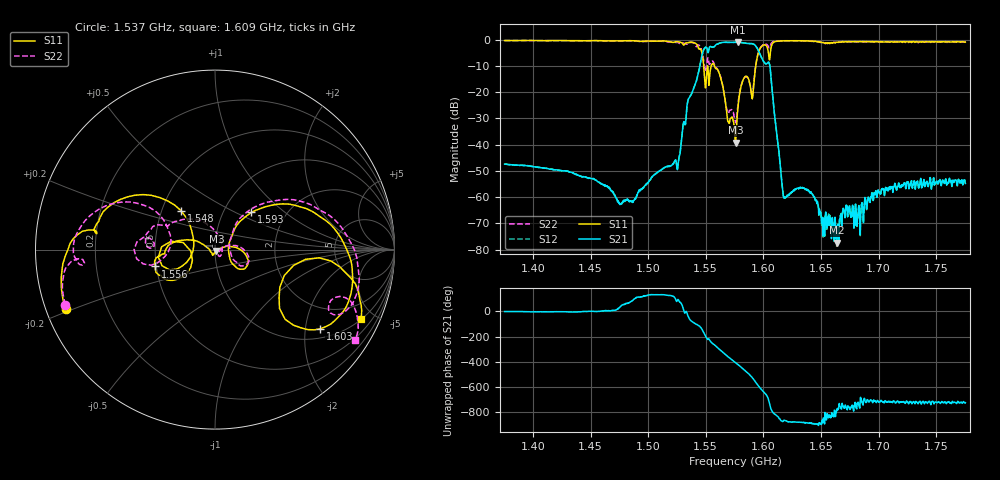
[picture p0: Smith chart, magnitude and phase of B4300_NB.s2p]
! Matrix data file written by TouchstoneData, EPCOS AG
! FILENAME: "LY26A_9_NB.s2p_newformat"
! COMMENT: "(LY26A_9_NB.s2p) EPCOS AG 23.02.2010 15:22:2"
! INFO: nport=2, nfreq=1601
! DATE: "Thu May 20 11:04:03 2010"
! USER: "Michael Schemies"
! port | pin | signal
!  1  |  1  |  in
!  2  |  4  |  out
# MHZ S MA R 50
! freq  magS11 angS11  magS21 angS21  magS12 angS12  magS22 angS22
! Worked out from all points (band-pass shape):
!   1601 points, 1.375 GHz to 1.775 GHz, reference 50 ohm
!   highest |S21| = -0.94 dB at 1.578 GHz (marker M1); lowest = -77.3 dB at 1.664 GHz (marker M2)
!   |S21| within 3 dB of the highest: 1.548151 GHz to 1.551454 GHz (3.304 MHz wide, 0.213 % of centre); 1.553 GHz to 1.596 GHz (42.96 MHz wide, 2.73 % of centre)
!   lowest |S11| = -39.2 dB at 1.576 GHz (marker M3), VSWR 1.02, Z = 50.8 - j0.8 ohm
!   |S11| at or under -10 dB: 1.548262 GHz to 1.551615 GHz (3.353 MHz wide, 0.216 % of centre); 1.551696 GHz to 1.554776 GHz (3.08 MHz wide, 0.198 % of centre); 1.557 GHz to 1.593 GHz (35.94 MHz wide, 2.28 % of centre)
!   |S22| runs from -31.7 to -0.3 dB; largest |S21 - S12| = 0.0031
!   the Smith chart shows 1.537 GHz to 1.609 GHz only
!   S11 on the Smith chart (normalised r, x): 1.537 GHz: 0.06, -0.19; 1.548 GHz: 0.63, +0.30; 1.556 GHz: 0.49, -0.11; 1.593 GHz: 1.35, +0.61; 1.603 GHz: 1.26, -2.42; 1.609 GHz: 1.02, -4.18
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1375.42  0.9637 -97.2  0.004266 -1.8  0.004233 -1.7  0.9611 -99.0
1442.17  0.9551 -105.7  0.002479 -3.4  0.002449 -3.0  0.9542 -107.9
1476.17  0.9466 -112.4  0.0007587 41.0  0.0007308 40.2  0.951 -115.2
1508.92  0.9422 -125.2  0.003087 131.8  0.003074 131.3  0.9398 -128.7
1526.17  0.9134 -141.0  0.004596 92.7  0.004624 92.9  0.8802 -144.2
1537.42  0.8956 -158.3  0.09042 -76.2  0.09043 -76.2  0.8884 -159.8
1548.42  0.2872 131.1  0.6567 -171.0  0.6554 -171.1  0.3629 148.0
1556.42  0.3456 -164.2  0.7259 101.5  0.7246 101.5  0.3782 163.8
1566.67  0.07602 156.3  0.8926 19.9  0.8904 19.9  0.07455 73.2
1575.42  0.01367 -81.9  0.8915 -42.8  0.8906 -42.8  0.02925 -45.1
1575.92  0.011 -45.7  0.8923 -46.4  0.8916 -46.4  0.02645 -33.3
1577.92  0.04867 15.2  0.8977 -61.3  0.8965 -61.3  0.05468 15.1
1585.42  0.1993 -28.4  0.851 -120.1  0.8501 -120.0  0.1975 -22.9
1590.17  0.07755 -10.6  0.8389 -163.6  0.8374 -163.6  0.08429 -1.4
1593.17  0.2899 45.7  0.7702 160.2  0.7696 160.2  0.3026 48.5
1603.17  0.7343 -36.9  0.3519 49.1  0.3513 49.1  0.8048 -25.1
1609.17  0.9007 -25.5  0.04896 -91.4  0.0488 -91.5  0.927 -32.8
1618.42  0.9497 -49.9  0.0009707 -145.7  0.0009836 -146.2  0.9541 -52.5
1642.17  0.9387 -72.6  0.001163 -169.9  0.001165 -169.6  0.9357 -74.5
1663.67  0.891 -76.4  0.0001363 -61.5  0.0001168 -40.8  0.8972 -77.8
1708.92  0.8999 -87.4  0.001441 5.3  0.001462 5.6  0.9044 -89.2
1775.42  0.8969 -92.3  0.001828 -5.3  0.001817 -4.8  0.9067 -95.8
